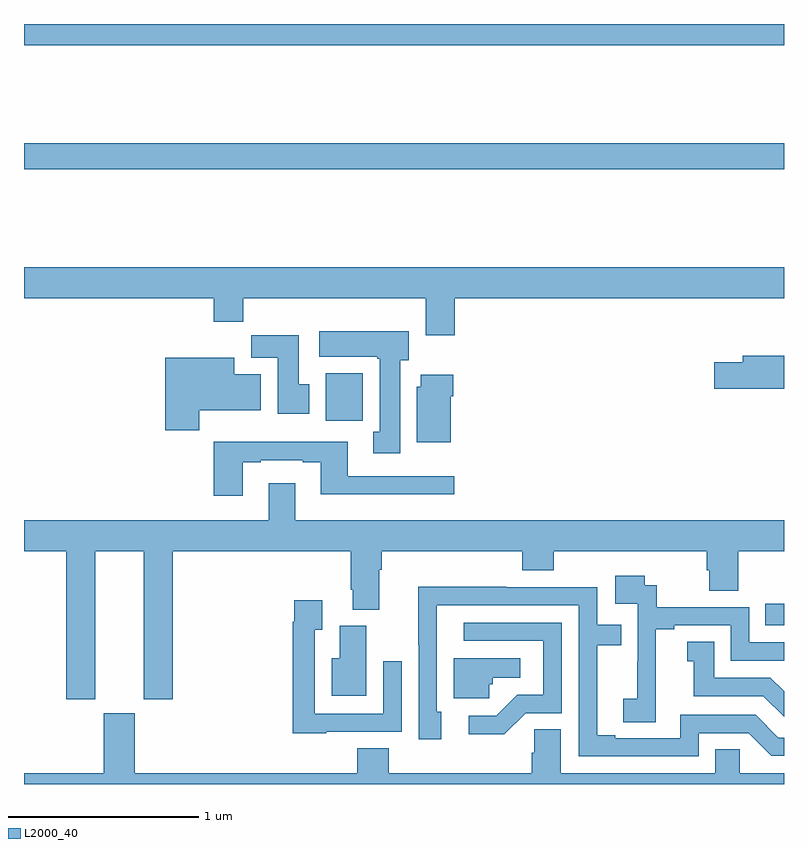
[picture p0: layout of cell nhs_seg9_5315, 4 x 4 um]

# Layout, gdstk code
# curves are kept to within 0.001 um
import gdstk
lib = gdstk.Library(unit=1e-6, precision=1e-09)
def R(c, l, rs):  # rectangles x0, y0, x1, y1
    for r in rs: c.add(gdstk.rectangle(r[:2], r[2:], *l))
def P(c, l, *ps):  # polygons
    for p in ps: c.add(gdstk.Polygon(p, *l))
L2000_40 = (2000, 40)

nhs_seg9_5315 = lib.new_cell('nhs_seg9_5315')
R(nhs_seg9_5315, L2000_40, [(422.902,1225.335,423,1225.45), (420.587,1226.412,420.783,1226.662), (419,1227.736,423,1227.872), (419,1228.388,423,1228.5)])
P(nhs_seg9_5315, L2000_40, [(421.268,1227.056),(423,1227.056),(423,1227.22),(419,1227.22),(419,1227.056),(419.999,1227.056),(419.999,1226.932),(420.155,1226.932),(420.155,1227.056),(421.115,1227.056),(421.115,1226.862),(421.268,1226.862)],
  [(420.979,1226.73),(421.024,1226.73),(421.024,1226.884),(420.555,1226.884),(420.555,1226.75),(420.859,1226.75),(420.859,1226.737),(420.872,1226.737),(420.872,1226.353),(420.839,1226.353),(420.839,1226.241),(420.979,1226.241)],
  [(420.502,1226.604),(420.445,1226.604),(420.445,1226.863),(420.196,1226.863),(420.196,1226.744),(420.335,1226.744),(420.335,1226.448),(420.502,1226.448)],
  [(423,1226.755),(422.783,1226.755),(422.783,1226.721),(422.634,1226.721),(422.634,1226.579),(423,1226.579)],
  [(419.922,1226.468),(420.247,1226.468),(420.247,1226.656),(420.106,1226.656),(420.106,1226.743),(419.744,1226.743),(419.744,1226.361),(419.922,1226.361)],
  [(421.246,1226.54),(421.259,1226.54),(421.259,1226.653),(421.088,1226.653),(421.088,1226.592),(421.067,1226.592),(421.067,1226.3),(421.246,1226.3)],
  [(420.151,1226.193),(420.247,1226.193),(420.247,1226.205),(420.467,1226.205),(420.467,1226.193),(420.563,1226.193),(420.563,1226.024),(421.264,1226.024),(421.264,1226.121),(420.703,1226.121),(420.703,1226.302),(419.999,1226.302),(419.999,1226.016),(420.151,1226.016)],
  [(419.374,1225.724),(419.63,1225.724),(419.63,1224.945),(419.783,1224.945),(419.783,1225.724),(420.719,1225.724),(420.719,1225.522),(420.731,1225.522),(420.731,1225.417),(420.871,1225.417),(420.871,1225.628),(420.884,1225.628),(420.884,1225.724),(421.622,1225.724),(421.622,1225.625),(421.787,1225.625),(421.787,1225.724),(422.594,1225.724),(422.594,1225.626),(422.606,1225.626),(422.606,1225.516),(422.759,1225.516),(422.759,1225.724),(423,1225.724),(423,1225.888),(420.427,1225.888),(420.427,1226.083),(420.287,1226.083),(420.287,1225.888),(419,1225.888),(419,1225.724),(419.222,1225.724),(419.222,1224.945),(419.374,1224.945)],
  [(422.324,1224.937),(422.326,1224.937),(422.326,1225.315),(422.422,1225.315),(422.422,1225.335),(422.721,1225.335),(422.721,1225.149),(423,1225.149),(423,1225.245),(422.817,1225.245),(422.817,1225.431),(422.33,1225.431),(422.33,1225.545),(422.268,1225.545),(422.268,1225.597),(422.112,1225.597),(422.112,1225.449),(422.229,1225.449),(422.229,1225.145),(422.228,1225.145),(422.228,1224.948),(422.154,1224.948),(422.154,1224.826),(422.324,1224.826)],
  [(422.55,1224.768),(422.814,1224.768),(422.934,1224.648),(423,1224.648),(423,1224.744),(422.97,1224.744),(422.85,1224.864),(422.454,1224.864),(422.454,1224.741),(422.113,1224.741),(422.113,1224.756),(422.017,1224.756),(422.017,1225.23),(422.144,1225.23),(422.144,1225.338),(422.016,1225.338),(422.016,1225.536),(421.538,1225.536),(421.538,1225.538),(421.076,1225.538),(421.077,1224.735),(421.195,1224.735),(421.195,1224.879),(421.173,1224.879),(421.173,1225.44),(421.92,1225.44),(421.92,1224.645),(422.55,1224.645)],
  [(420.591,1224.774),(420.987,1224.774),(420.987,1225.147),(420.891,1225.147),(420.891,1224.87),(420.531,1224.87),(420.531,1225.312),(420.571,1225.312),(420.571,1225.468),(420.423,1225.468),(420.423,1225.355),(420.415,1225.355),(420.415,1224.767),(420.591,1224.767)],
  [(421.641,1224.873),(421.83,1224.873),(421.83,1225.35),(421.314,1225.35),(421.314,1225.254),(421.734,1225.254),(421.734,1224.969),(421.596,1224.969),(421.485,1224.858),(421.341,1224.858),(421.341,1224.761),(421.528,1224.761)],
  [(420.802,1225.332),(420.662,1225.332),(420.662,1225.162),(420.62,1225.162),(420.62,1224.965),(420.802,1224.965)],
  [(423,1224.987),(422.928,1225.059),(422.632,1225.059),(422.632,1225.25),(422.492,1225.25),(422.492,1225.147),(422.525,1225.147),(422.525,1224.963),(422.892,1224.963),(423,1224.855)],
  [(421.449,1225.026),(421.468,1225.026),(421.468,1225.058),(421.612,1225.058),(421.612,1225.162),(421.262,1225.162),(421.262,1224.951),(421.449,1224.951)],
  [(423,1224.556),(422.766,1224.556),(422.766,1224.683),(422.639,1224.683),(422.639,1224.556),(421.825,1224.556),(421.825,1224.788),(421.686,1224.788),(421.686,1224.665),(421.673,1224.665),(421.673,1224.556),(420.92,1224.556),(420.92,1224.689),(420.755,1224.689),(420.755,1224.556),(419.584,1224.556),(419.584,1224.873),(419.42,1224.873),(419.42,1224.556),(419,1224.556),(419,1224.5),(423,1224.5)])

lib.write_gds('nhs_seg9_5315.gds')
